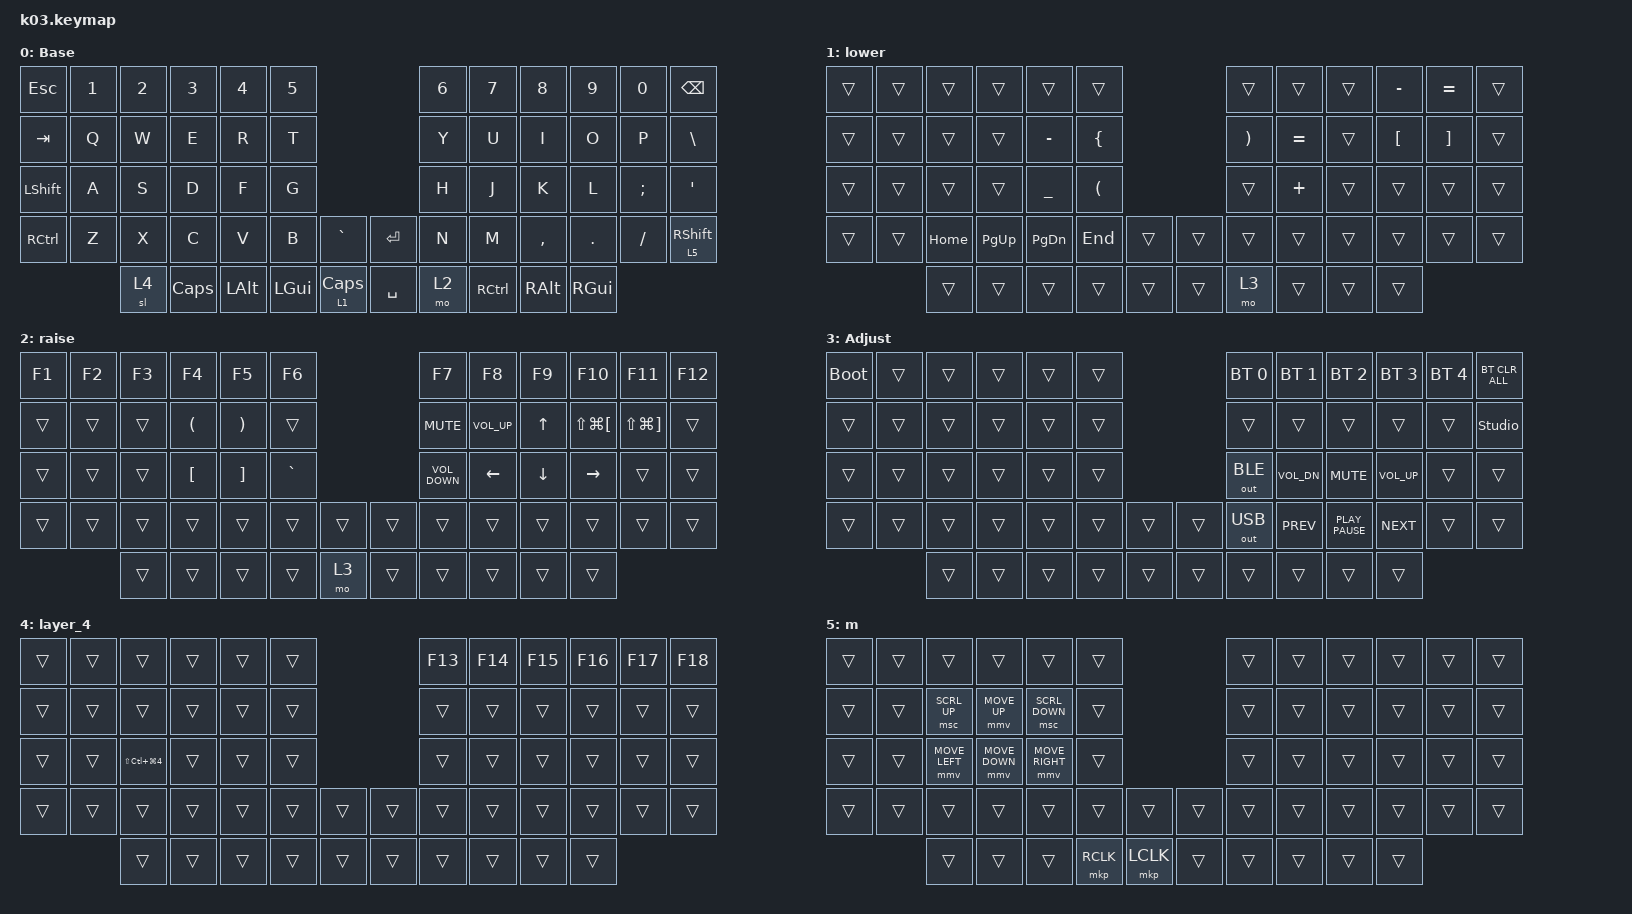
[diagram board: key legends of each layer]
#include "keys_ru.h"
#include <behaviors.dtsi>
#include <dt-bindings/zmk/bt.h>
#include <dt-bindings/zmk/keys.h>
#include <dt-bindings/zmk/outputs.h>
#include <dt-bindings/zmk/pointing.h>

/ {
    behaviors {
        enc_vol: enc_vol {
            compatible = "zmk,behavior-sensor-rotate";
            label = "ENC_VOL";
            #sensor-binding-cells = <0>;
            bindings = <&kp C_VOL_UP>, <&kp C_VOL_DN>;
        };
    };

    combos {
        compatible = "zmk,combos";

        l_bracket {
            bindings = <&kp LEFT_BRACKET>;
            key-positions = <16 17>;
        };

        r_bracket {
            bindings = <&kp RIGHT_BRACKET>;
            key-positions = <18 19>;
        };

        escape {
            bindings = <&kp ESC>;
            key-positions = <27 28>;
        };
    };

    keymap {
        compatible = "zmk,keymap";

        base {
            bindings = <
&kp ESC         &kp N1  &kp N2  &kp N3        &kp N4        &kp N5                                 &kp N6  &kp N7     &kp N8         &kp N9         &kp N0    &kp BSPC
&kp TAB         &kp Q   &kp W   &kp E         &kp R         &kp T                                  &kp Y   &kp U      &kp I          &kp O          &kp P     &kp BSLH
&kp LEFT_SHIFT  &kp A   &kp S   &kp D         &kp F         &kp G                                  &kp H   &kp J      &kp K          &kp L          &kp SEMI  &kp SQT
&kp RCTRL       &kp Z   &kp X   &kp C         &kp V         &kp B         &kp GRAVE     &kp ENTER  &kp N   &kp M      &kp COMMA      &kp DOT        &kp FSLH  &lt 5 RIGHT_SHIFT
                        &sl 4   &kp CAPSLOCK  &kp LEFT_ALT  &kp LEFT_GUI  &lt 1 CLCK    &kp SPACE  &mo 2   &kp RCTRL  &kp RIGHT_ALT  &kp RIGHT_GUI
            >;

            display-name = "Base";
        };

        lower {
            bindings = <
&trans  &trans  &trans    &trans       &trans         &trans                                  &trans                 &trans     &trans  &kp MINUS         &kp EQUAL          &trans
&trans  &trans  &trans    &trans       &kp MINUS      &kp LEFT_BRACE                          &kp RIGHT_PARENTHESIS  &kp EQUAL  &trans  &kp LEFT_BRACKET  &kp RIGHT_BRACKET  &trans
&trans  &trans  &trans    &trans       &kp UNDER      &kp LEFT_PARENTHESIS                    &trans                 &kp PLUS   &trans  &trans            &trans             &trans
&trans  &trans  &kp HOME  &kp PAGE_UP  &kp PAGE_DOWN  &kp END               &trans    &trans  &trans                 &trans     &trans  &trans            &trans             &trans
                &trans    &trans       &trans         &trans                &trans    &trans  &mo 3                  &trans     &trans  &trans
            >;
        };

        raise {
            bindings = <
&kp F1  &kp F2  &kp F3  &kp F4                &kp F5                 &kp F6                       &kp F7             &kp F8           &kp F9    &kp F10           &kp F11           &kp F12
&trans  &trans  &trans  &kp LEFT_PARENTHESIS  &kp RIGHT_PARENTHESIS  &trans                       &kp K_MUTE         &kp K_VOLUME_UP  &kp UP    &kp LS(LG(LBKT))  &kp LS(LG(RBKT))  &trans
&trans  &trans  &trans  &kp LEFT_BRACKET      &kp RIGHT_BRACKET      &kp GRAVE                    &kp K_VOLUME_DOWN  &kp LEFT         &kp DOWN  &kp RIGHT         &trans            &trans
&trans  &trans  &trans  &trans                &trans                 &trans     &trans    &trans  &trans             &trans           &trans    &trans            &trans            &trans
                &trans  &trans                &trans                 &trans     &mo 3     &trans  &trans             &trans           &trans    &trans
            >;
        };

        adj {
            bindings = <
&bootloader  &trans  &trans  &trans  &trans  &trans                    &bt BT_SEL 0  &bt BT_SEL 1  &bt BT_SEL 2      &bt BT_SEL 3  &bt BT_SEL 4  &bt BT_CLR_ALL
&trans       &trans  &trans  &trans  &trans  &trans                    &trans        &trans        &trans            &trans        &trans        &studio_unlock
&trans       &trans  &trans  &trans  &trans  &trans                    &out OUT_BLE  &kp C_VOL_DN  &kp K_MUTE        &kp C_VOL_UP  &trans        &trans
&trans       &trans  &trans  &trans  &trans  &trans  &trans    &trans  &out OUT_USB  &kp K_PREV    &kp K_PLAY_PAUSE  &kp K_NEXT    &trans        &trans
                     &trans  &trans  &trans  &trans  &trans    &trans  &trans        &trans        &trans            &trans
            >;

            display-name = "Adjust";
        };

        layer_4 {
            bindings = <
&trans  &trans  &trans                    &trans  &trans  &trans                    &kp F13  &kp F14  &kp F15  &kp F16  &kp F17  &kp F18
&trans  &trans  &trans                    &trans  &trans  &trans                    &trans   &trans   &trans   &trans   &trans   &trans
&trans  &trans  &kp LS(LC(LG(NUMBER_4)))  &trans  &trans  &trans                    &trans   &trans   &trans   &trans   &trans   &trans
&trans  &trans  &trans                    &trans  &trans  &trans  &trans    &trans  &trans   &trans   &trans   &trans   &trans   &trans
                &trans                    &trans  &trans  &trans  &trans    &trans  &trans   &trans   &trans   &trans
            >;
        };

        m {
            bindings = <
&trans  &trans  &trans          &trans          &trans           &trans                          &trans  &trans  &trans  &trans  &trans  &trans
&trans  &trans  &msc SCRL_UP    &mmv MOVE_UP    &msc SCRL_DOWN   &trans                          &trans  &trans  &trans  &trans  &trans  &trans
&trans  &trans  &mmv MOVE_LEFT  &mmv MOVE_DOWN  &mmv MOVE_RIGHT  &trans                          &trans  &trans  &trans  &trans  &trans  &trans
&trans  &trans  &trans          &trans          &trans           &trans     &trans       &trans  &trans  &trans  &trans  &trans  &trans  &trans
                &trans          &trans          &trans           &mkp RCLK  &mkp LCLK    &trans  &trans  &trans  &trans  &trans
            >;
        };
    };
};
